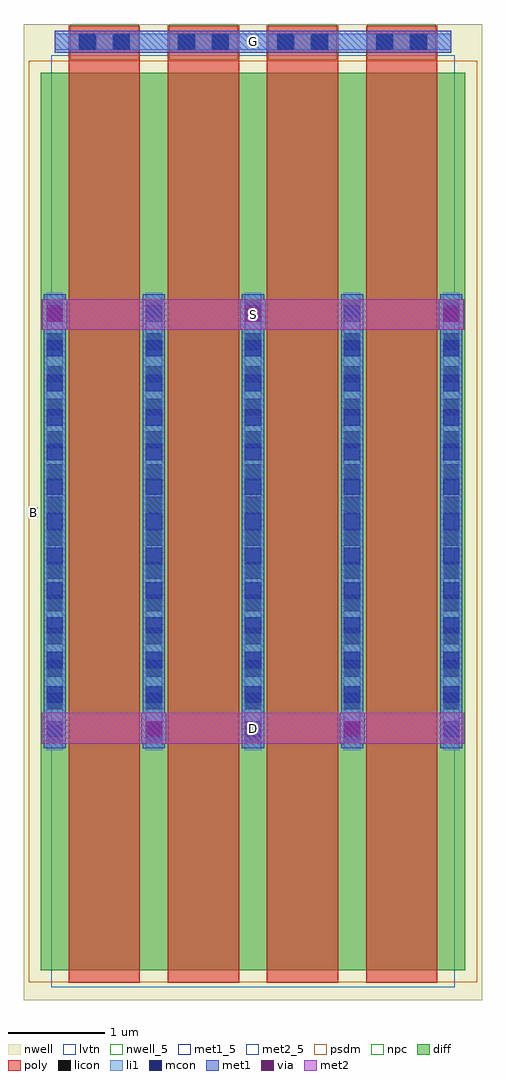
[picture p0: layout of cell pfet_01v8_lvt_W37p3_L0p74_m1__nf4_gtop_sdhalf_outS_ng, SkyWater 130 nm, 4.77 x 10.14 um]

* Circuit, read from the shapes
.subckt pfet_01v8_lvt_W37p3_L0p74_m1__nf4_gtop_sdhalf_outS_ng B D G S
XM1 D G S B sky130_fd_pr__pfet_01v8_lvt w=9.33 l=0.74 m=4
.ends

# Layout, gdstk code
import gdstk
lib = gdstk.Library(unit=1e-6, precision=1e-09)
def R(c, l, rs):  # rectangles x0, y0, x1, y1
    for r in rs: c.add(gdstk.rectangle(r[:2], r[2:], *l))
def A(c, l, x, y, w, h, nx, ny, dx, dy):  # array of equal rectangles
    R(c, l, [(x+i*dx, y+j*dy, x+i*dx+w, y+j*dy+h) for i in range(nx) for j in range(ny)])
nwell_5 = (64, 5)
nwell = (64, 20)
diff = (65, 20)
poly = (66, 20)
licon = (66, 44)
li1 = (67, 20)
mcon = (67, 44)
met1_5 = (68, 5)
met1 = (68, 20)
via = (68, 44)
met2_5 = (69, 5)
met2 = (69, 20)
psdm = (94, 20)
npc = (95, 20)
lvtn = (125, 44)

sky130_fd_pr__pfet_01v8_ = lib.new_cell('sky130_fd_pr__pfet_01v8_lvt_5L4XMC')
R(sky130_fd_pr__pfet_01v8_, nwell, [(-2.385,-5.155,2.385,4.985)])
R(sky130_fd_pr__pfet_01v8_, diff, [(-2.205,-4.845,2.205,4.485)])
A(sky130_fd_pr__pfet_01v8_, poly, -1.915, -4.975, 0.74, 9.945, 4, 1, 1.03, 0)
A(sky130_fd_pr__pfet_01v8_, licon, -2.145, -2.475, 0.17, 0.17, 5, 14, 1.03, 0.34)
R(sky130_fd_pr__pfet_01v8_, licon, [(-1.8,4.72,-1.63,4.89), (-1.46,4.72,-1.29,4.89), (-0.77,4.72,-0.6,4.89), (-0.43,4.72,-0.26,4.89), (0.26,4.72,0.43,4.89), (0.6,4.72,0.77,4.89), (1.29,4.72,1.46,4.89), (1.63,4.72,1.8,4.89)])
A(sky130_fd_pr__pfet_01v8_, li1, -2.145, -2.56, 0.17, 4.76, 5, 1, 1.03, 0)
R(sky130_fd_pr__pfet_01v8_, li1, [(-2.06,4.72,2.06,4.89)])
A(sky130_fd_pr__pfet_01v8_, mcon, -2.145, -2.425, 0.17, 0.17, 5, 13, 1.03, 0.36)
R(sky130_fd_pr__pfet_01v8_, mcon, [(-1.81,4.72,-1.64,4.89), (-1.45,4.72,-1.28,4.89), (-0.78,4.72,-0.61,4.89), (-0.42,4.72,-0.25,4.89), (0.25,4.72,0.42,4.89), (0.61,4.72,0.78,4.89), (1.28,4.72,1.45,4.89), (1.64,4.72,1.81,4.89)])
A(sky130_fd_pr__pfet_01v8_, met1, -2.175, -2.54, 0.23, 4.72, 5, 1, 1.03, 0)
A(sky130_fd_pr__pfet_01v8_, met1, -1.895, 4.69, 0.7, 0.03, 4, 2, 1.03, 0.2)
R(sky130_fd_pr__pfet_01v8_, met1, [(-2.06,4.72,2.06,4.89)])
R(sky130_fd_pr__pfet_01v8_, psdm, [(-2.33,-4.97,2.33,4.61)])
A(sky130_fd_pr__pfet_01v8_, npc, -1.9, 4.62, 0.71, 0.37, 4, 1, 1.03, 0)
R(sky130_fd_pr__pfet_01v8_, lvtn, [(-2.095,-5.025,2.095,4.665)])
sky130_fd_pr__pfet_01v8_.add(gdstk.Label('D0', (-2.06,-0.18), layer=67, texttype=5))
sky130_fd_pr__pfet_01v8_.add(gdstk.Label('G', (1.545,4.805), layer=67, texttype=5))
sky130_fd_pr__pfet_01v8_.add(gdstk.Label('G', (0.515,4.805), layer=67, texttype=5))
sky130_fd_pr__pfet_01v8_.add(gdstk.Label('G', (-0.515,4.805), layer=67, texttype=5))
sky130_fd_pr__pfet_01v8_.add(gdstk.Label('G', (-1.545,4.805), layer=67, texttype=5))
sky130_fd_pr__pfet_01v8_.add(gdstk.Label('S1', (-1.03,-0.18), layer=67, texttype=5))
sky130_fd_pr__pfet_01v8_.add(gdstk.Label('D2', (0,-0.18), layer=67, texttype=5))
sky130_fd_pr__pfet_01v8_.add(gdstk.Label('S3', (1.03,-0.18), layer=67, texttype=5))

pfet_01v8_lvt_w37p3_l0p7 = lib.new_cell('pfet_01v8_lvt_W37p3_L0p74_m1__nf4_gtop_sdhalf_outS_ng')
R(pfet_01v8_lvt_w37p3_l0p7, nwell_5, [(0.05,5.02,0.15,5.12)])
R(pfet_01v8_lvt_w37p3_l0p7, nwell, [(0.05,5.02,0.15,5.12)])
R(pfet_01v8_lvt_w37p3_l0p7, met1_5, [(0.325,9.845,4.445,10.075)])
A(pfet_01v8_lvt_w37p3_l0p7, met1, 0.195, 6.965, 0.26, 0.32, 3, 1, 2.06, 0)
R(pfet_01v8_lvt_w37p3_l0p7, met1, [(1.225,2.665,1.485,2.985), (3.285,2.665,3.545,2.985), (0.325,9.845,4.445,10.075)])
A(pfet_01v8_lvt_w37p3_l0p7, via, 0.25, 7.05, 0.15, 0.15, 3, 1, 2.06, 0)
R(pfet_01v8_lvt_w37p3_l0p7, via, [(1.28,2.75,1.43,2.9), (3.34,2.75,3.49,2.9)])
R(pfet_01v8_lvt_w37p3_l0p7, met2_5, [(0.19,2.665,4.58,2.985), (0.19,6.965,4.58,7.285)])
R(pfet_01v8_lvt_w37p3_l0p7, met2, [(0.19,2.665,4.58,2.985), (0.19,6.965,4.58,7.285)])
pfet_01v8_lvt_w37p3_l0p7.add(gdstk.Reference(sky130_fd_pr__pfet_01v8_, (2.385,5.155)))
pfet_01v8_lvt_w37p3_l0p7.add(gdstk.Label('S', (2.385,7.125), layer=69, texttype=5))
pfet_01v8_lvt_w37p3_l0p7.add(gdstk.Label('D', (2.385,2.825), layer=69, texttype=5))
pfet_01v8_lvt_w37p3_l0p7.add(gdstk.Label('G', (2.385,9.96), layer=68, texttype=5))
pfet_01v8_lvt_w37p3_l0p7.add(gdstk.Label('B', (0.1,5.07), layer=64, texttype=5))

lib.write_gds('pfet_01v8_lvt_W37p3_L0p74_m1__nf4_gtop_sdhalf_outS_ng.gds')
